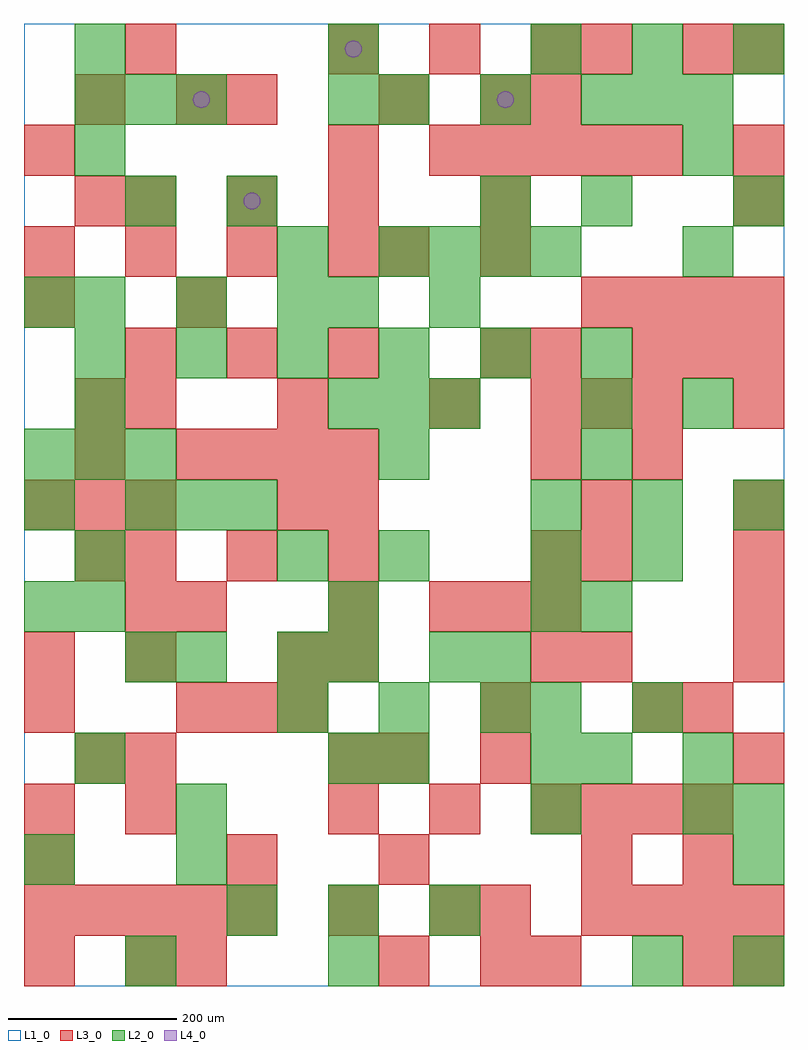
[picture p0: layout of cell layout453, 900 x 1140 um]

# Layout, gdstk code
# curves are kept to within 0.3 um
import gdstk
lib = gdstk.Library(unit=1e-6, precision=1e-09)
def R(c, l, rs):  # rectangles x0, y0, x1, y1
    for r in rs: c.add(gdstk.rectangle(r[:2], r[2:], *l))
def A(c, l, x, y, w, h, nx, ny, dx, dy):  # array of equal rectangles
    R(c, l, [(x+i*dx, y+j*dy, x+i*dx+w, y+j*dy+h) for i in range(nx) for j in range(ny)])
def P(c, l, *ps):  # polygons
    for p in ps: c.add(gdstk.Polygon(p, *l))
L1_0 = (1, 0)
L2_0 = (2, 0)
L3_0 = (3, 0)
L4_0 = (4, 0)

layout453 = lib.new_cell('layout453')
R(layout453, L1_0, [(0,0,900,1140)])
A(layout453, L2_0, 240, 60, 60, 60, 3, 1, 120, 0)
A(layout453, L2_0, 600, 180, 60, 60, 1, 3, 0, 60)
A(layout453, L2_0, 660, 240, 60, 60, 1, 3, 0, 180)
A(layout453, L2_0, 300, 300, 60, 60, 3, 1, 120, 0)
A(layout453, L2_0, 120, 540, 60, 60, 3, 1, 60, 0)
A(layout453, L2_0, 600, 540, 60, 60, 3, 2, 120, 540)
A(layout453, L2_0, 0, 600, 60, 60, 3, 1, 60, 0)
A(layout453, L2_0, 360, 660, 60, 60, 3, 1, 60, 0)
A(layout453, L2_0, 60, 720, 60, 60, 6, 1, 120, 0)
A(layout453, L2_0, 60, 780, 60, 60, 3, 1, 120, 0)
A(layout453, L2_0, 420, 840, 60, 60, 4, 1, 60, 0)
A(layout453, L2_0, 60, 1020, 60, 60, 3, 1, 60, 0)
A(layout453, L2_0, 420, 1020, 60, 60, 3, 1, 120, 0)
R(layout453, L2_0, [(120,0,180,60), (360,0,420,60), (720,0,780,60), (840,0,900,60), (0,120,60,180), (180,120,240,180), (840,120,900,180), (180,180,240,240), (780,180,840,240), (840,180,900,240), (60,240,120,300), (360,240,420,300), (420,240,480,300), (780,240,840,300), (720,300,780,360), (120,360,180,420), (180,360,240,420), (300,360,360,420), (360,360,420,420), (480,360,540,420), (540,360,600,420), (0,420,60,480), (60,420,120,480), (360,420,420,480), (600,420,660,480), (60,480,120,540), (300,480,360,540), (420,480,480,540), (600,480,660,540), (720,480,780,540), (0,540,60,600), (420,600,480,660), (60,660,120,720), (660,660,720,720), (780,660,840,720), (0,780,60,840), (360,780,420,840), (480,780,540,840), (300,840,360,900), (780,840,840,900), (120,900,180,960), (240,900,300,960), (540,900,600,960), (660,900,720,960), (840,900,900,960), (60,960,120,1020), (780,960,840,1020), (360,1020,420,1080), (720,1020,780,1080), (780,1020,840,1080), (60,1080,120,1140), (360,1080,420,1140)])
A(layout453, L3_0, 420, 0, 60, 60, 1, 3, 0, 120)
A(layout453, L3_0, 0, 60, 60, 60, 5, 1, 60, 0)
A(layout453, L3_0, 660, 60, 60, 60, 4, 2, 60, 720)
A(layout453, L3_0, 360, 180, 60, 60, 3, 2, 120, 900)
A(layout453, L3_0, 660, 180, 60, 60, 3, 1, 60, 0)
A(layout453, L3_0, 180, 300, 60, 60, 3, 1, 60, 0)
A(layout453, L3_0, 600, 360, 60, 60, 1, 4, 0, 120)
A(layout453, L3_0, 840, 360, 60, 60, 1, 4, 0, 60)
A(layout453, L3_0, 480, 420, 60, 60, 3, 1, 60, 0)
A(layout453, L3_0, 120, 480, 60, 60, 3, 2, 120, 240)
A(layout453, L3_0, 0, 540, 60, 60, 3, 1, 60, 0)
A(layout453, L3_0, 180, 600, 60, 60, 4, 1, 60, 0)
A(layout453, L3_0, 120, 660, 60, 60, 3, 1, 180, 0)
A(layout453, L3_0, 600, 660, 60, 60, 3, 1, 60, 0)
A(layout453, L3_0, 720, 720, 60, 60, 3, 1, 60, 0)
A(layout453, L3_0, 0, 840, 60, 60, 4, 1, 120, 0)
A(layout453, L3_0, 120, 900, 60, 60, 3, 1, 120, 0)
A(layout453, L3_0, 480, 960, 60, 60, 5, 1, 60, 0)
R(layout453, L3_0, [(0,0,60,60), (120,0,180,60), (180,0,240,60), (540,0,600,60), (600,0,660,60), (780,0,840,60), (840,0,900,60), (360,60,420,120), (480,60,540,120), (540,60,600,120), (0,120,60,180), (240,120,300,180), (660,120,720,180), (780,120,840,180), (0,180,60,240), (120,180,180,240), (60,240,120,300), (120,240,180,300), (360,240,420,300), (540,240,600,300), (840,240,900,300), (0,300,60,360), (540,300,600,360), (720,300,780,360), (780,300,840,360), (0,360,60,420), (120,360,180,420), (300,360,360,420), (360,360,420,420), (660,360,720,420), (120,420,180,480), (180,420,240,480), (360,420,420,480), (60,480,120,540), (660,480,720,540), (300,540,360,600), (360,540,420,600), (660,540,720,600), (60,600,120,660), (720,600,780,660), (60,660,120,720), (840,660,900,720), (540,720,600,780), (0,780,60,840), (180,780,240,840), (420,840,480,900), (540,840,600,900), (60,900,120,960), (540,900,600,960), (840,900,900,960), (0,960,60,1020), (360,960,420,1020), (840,960,900,1020), (60,1020,120,1080), (180,1020,240,1080), (240,1020,300,1080), (420,1020,480,1080), (540,1020,600,1080), (600,1020,660,1080), (120,1080,180,1140), (660,1080,720,1140), (780,1080,840,1140), (840,1080,900,1140)])
P(layout453, L4_0, [(220,1050),(219.239,1053.827),(217.071,1057.071),(213.827,1059.239),(210,1060),(206.173,1059.239),(202.929,1057.071),(200.761,1053.827),(200,1050),(200.761,1046.173),(202.929,1042.929),(206.173,1040.761),(210,1040),(213.827,1040.761),(217.071,1042.929),(219.239,1046.173)],
  [(280,930),(279.239,933.827),(277.071,937.071),(273.827,939.239),(270,940),(266.173,939.239),(262.929,937.071),(260.761,933.827),(260,930),(260.761,926.173),(262.929,922.929),(266.173,920.761),(270,920),(273.827,920.761),(277.071,922.929),(279.239,926.173)],
  [(400,1110),(399.239,1113.827),(397.071,1117.071),(393.827,1119.239),(390,1120),(386.173,1119.239),(382.929,1117.071),(380.761,1113.827),(380,1110),(380.761,1106.173),(382.929,1102.929),(386.173,1100.761),(390,1100),(393.827,1100.761),(397.071,1102.929),(399.239,1106.173)],
  [(580,1050),(579.239,1053.827),(577.071,1057.071),(573.827,1059.239),(570,1060),(566.173,1059.239),(562.929,1057.071),(560.761,1053.827),(560,1050),(560.761,1046.173),(562.929,1042.929),(566.173,1040.761),(570,1040),(573.827,1040.761),(577.071,1042.929),(579.239,1046.173)])

lib.write_gds('layout453.gds')
